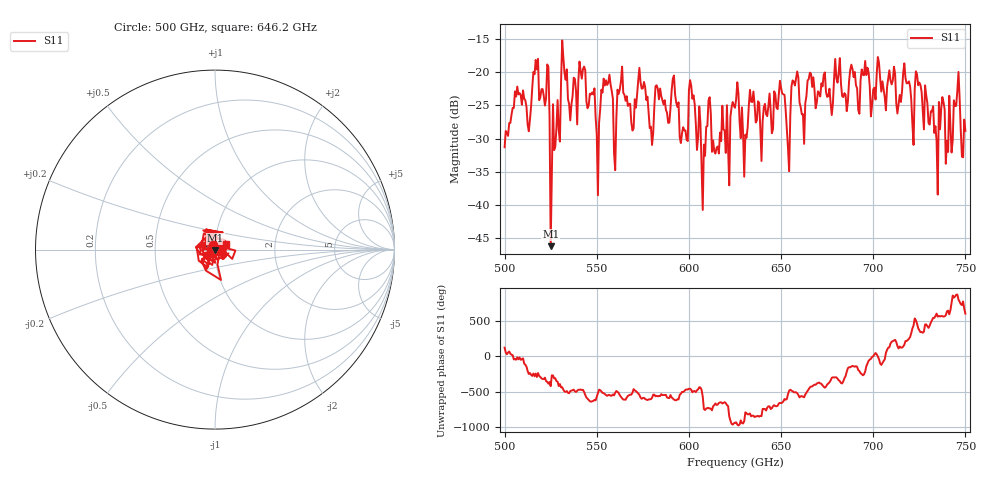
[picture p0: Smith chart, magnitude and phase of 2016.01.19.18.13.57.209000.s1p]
!Created with skrf (http://scikit-rf.org).
# GHz S RI R 50.0
!freq ReS11 ImS11
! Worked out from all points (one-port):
!   401 points, 500 GHz to 750 GHz, reference 50 ohm
!   lowest |S11| = -46.2 dB at 525 GHz (marker M1), VSWR 1.01, Z = 50.2 - j0.446 ohm
!   |S11| at or under -10 dB: start of sweep to end of sweep
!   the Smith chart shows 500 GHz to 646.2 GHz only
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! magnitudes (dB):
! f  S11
! 500 GHz  -31.3
! 506.9 GHz  -22.2
! 513.1 GHz  -28.9
! 516.9 GHz  -18.2
! 523.1 GHz  -18.9
! 525 GHz  -46.2
! 526.2 GHz  -24.8
! 531.2 GHz  -15.3
! 542.5 GHz  -19.6
! 550.6 GHz  -38.5
! 553.8 GHz  -21.0
! 559.4 GHz  -32.2
! 562.5 GHz  -22.6
! 593.8 GHz  -25.3
! 598.1 GHz  -28.8
! 601.2 GHz  -22.1
! 608.1 GHz  -30.9
! 610.6 GHz  -24.3
! 615 GHz  -31.4
! 625 GHz  -25.4
! 630.6 GHz  -29.4
! 633.8 GHz  -24.5
! 650 GHz  -22.4
! 653.8 GHz  -31.4
! 656.2 GHz  -21.3
! 687.5 GHz  -19.7
! 718.8 GHz  -21.7
! 750 GHz  -28.9
